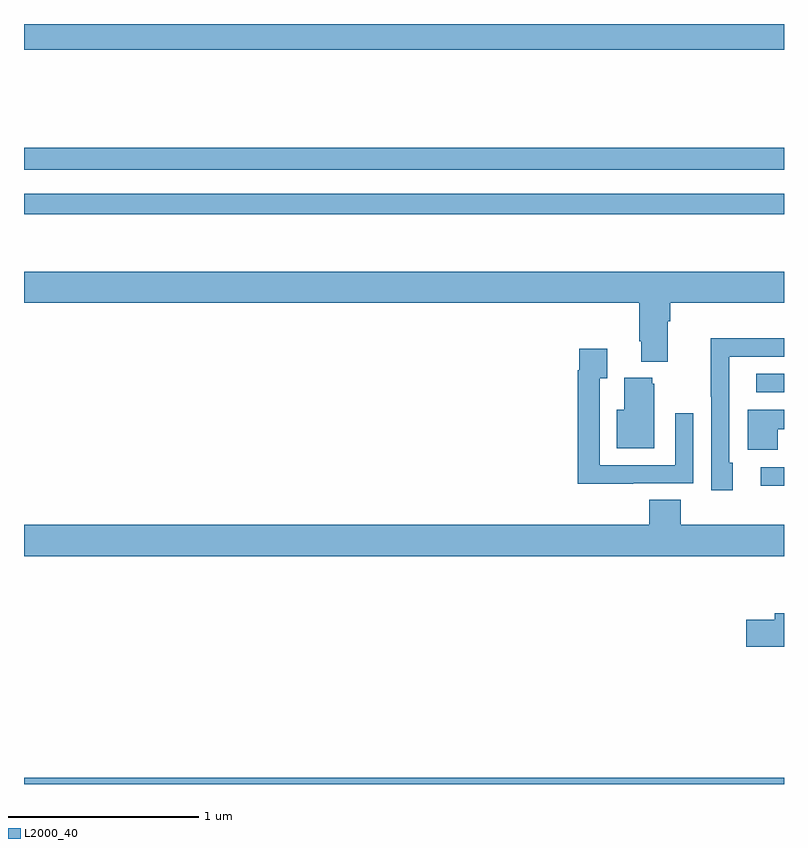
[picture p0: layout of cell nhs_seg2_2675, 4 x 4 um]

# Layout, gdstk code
import gdstk
lib = gdstk.Library(unit=1e-6, precision=1e-09)
def R(c, l, rs):  # rectangles x0, y0, x1, y1
    for r in rs: c.add(gdstk.rectangle(r[:2], r[2:], *l))
def P(c, l, *ps):  # polygons
    for p in ps: c.add(gdstk.Polygon(p, *l))
L2000_40 = (2000, 40)

nhs_seg2_2675 = lib.new_cell('nhs_seg2_2675')
R(nhs_seg2_2675, L2000_40, [(251,615.8,255,615.832), (254.877,617.369,255,617.466), (254.853,617.862,255,617.958), (251,618.798,255,618.906), (251,619.032,255,619.148), (251,619.664,255,619.8)])
P(nhs_seg2_2675, L2000_40, [(254.389,618.236),(254.402,618.236),(254.402,618.332),(255,618.332),(255,618.496),(251,618.496),(251,618.332),(254.237,618.332),(254.237,618.13),(254.249,618.13),(254.249,618.023),(254.389,618.023)],
  [(254.731,617.49),(254.712,617.49),(254.712,617.806),(254.713,617.806),(254.713,618.048),(255,618.048),(255,618.146),(254.614,618.146),(254.614,617.839),(254.616,617.839),(254.616,617.346),(254.731,617.346)],
  [(254.207,617.382),(254.523,617.382),(254.523,617.752),(254.427,617.752),(254.427,617.478),(254.031,617.478),(254.031,617.935),(254.071,617.935),(254.071,618.091),(253.923,618.091),(253.923,617.978),(253.915,617.978),(253.915,617.381),(254.207,617.381)],
  [(254.317,617.907),(254.306,617.907),(254.306,617.938),(254.159,617.938),(254.159,617.77),(254.12,617.77),(254.12,617.567),(254.317,617.567)],
  [(254.967,617.666),(255,617.666),(255,617.77),(254.81,617.77),(254.81,617.558),(254.967,617.558)],
  [(255,617.164),(254.456,617.164),(254.456,617.297),(254.291,617.297),(254.291,617.164),(251,617.164),(251,617),(255,617)],
  [(255,616.699),(254.951,616.699),(254.951,616.665),(254.802,616.665),(254.802,616.523),(255,616.523)])

lib.write_gds('nhs_seg2_2675.gds')
